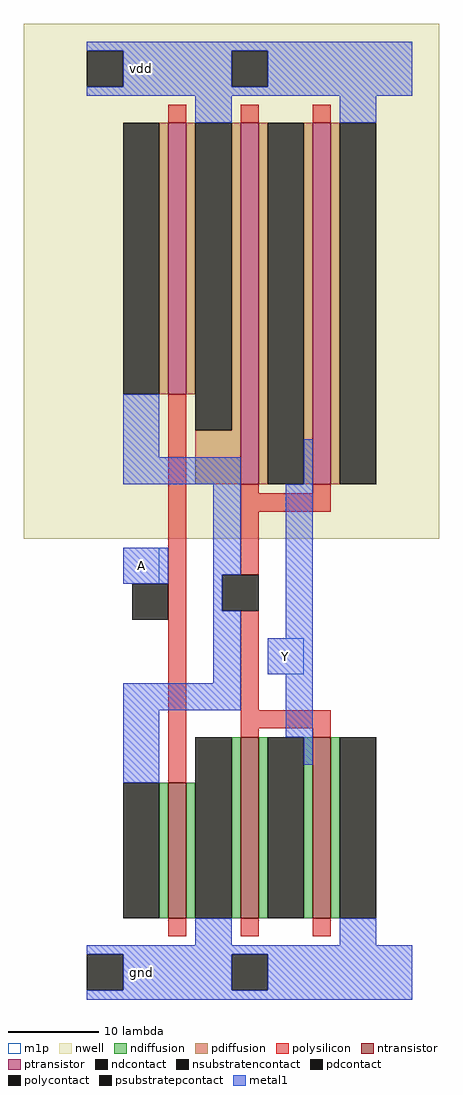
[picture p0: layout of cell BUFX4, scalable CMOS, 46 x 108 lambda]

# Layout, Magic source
magic
tech scmos
<< nwell >>
rect -9 48 37 105
<< ntransistor >>
rect 7 6 9 21
rect 15 6 17 26
rect 23 6 25 26
<< ptransistor >>
rect 7 64 9 94
rect 15 54 17 94
rect 23 54 25 94
<< ndiffusion >>
rect 6 6 7 21
rect 9 6 10 21
rect 14 6 15 26
rect 17 6 18 26
rect 22 6 23 26
rect 25 6 26 26
<< pdiffusion >>
rect 6 64 7 94
rect 9 64 10 94
rect 14 60 15 94
rect 10 54 15 60
rect 17 54 18 94
rect 22 54 23 94
rect 25 54 26 94
<< ndcontact >>
rect 2 6 6 21
rect 10 6 14 26
rect 18 6 22 26
rect 26 6 30 26
<< pdcontact >>
rect 2 64 6 94
rect 10 60 14 94
rect 18 54 22 94
rect 26 54 30 94
<< psubstratepcontact >>
rect -2 -2 2 2
rect 14 -2 18 2
<< nsubstratencontact >>
rect -2 98 2 102
rect 14 98 18 102
<< polysilicon >>
rect 7 94 9 96
rect 15 94 17 96
rect 23 94 25 96
rect 7 21 9 64
rect 15 53 17 54
rect 23 53 25 54
rect 15 51 25 53
rect 15 44 17 51
rect 15 29 17 40
rect 15 27 25 29
rect 15 26 17 27
rect 23 26 25 27
rect 7 4 9 6
rect 15 4 17 6
rect 23 4 25 6
<< polycontact >>
rect 3 39 7 43
rect 13 40 17 44
<< metal1 >>
rect -2 102 34 103
rect 2 98 14 102
rect 18 98 34 102
rect -2 97 34 98
rect 10 94 14 97
rect 26 94 30 97
rect 2 57 6 64
rect 2 54 15 57
rect 22 54 23 59
rect 2 43 7 47
rect 12 44 15 54
rect 12 40 13 44
rect 12 32 15 40
rect 20 37 23 54
rect 18 33 23 37
rect 2 29 15 32
rect 2 21 6 29
rect 20 26 23 33
rect 22 23 23 26
rect 10 3 14 6
rect 26 3 30 6
rect -2 2 34 3
rect 2 -2 14 2
rect 18 -2 34 2
rect -2 -3 34 -2
<< m1p >>
rect 2 43 6 47
rect 18 33 22 37
<< labels >>
rlabel metal1 4 100 4 100 6 vdd
rlabel metal1 4 0 4 0 8 gnd
rlabel m1p 4 45 4 45 6 A
rlabel m1p 20 35 20 35 1 Y
<< end >>
